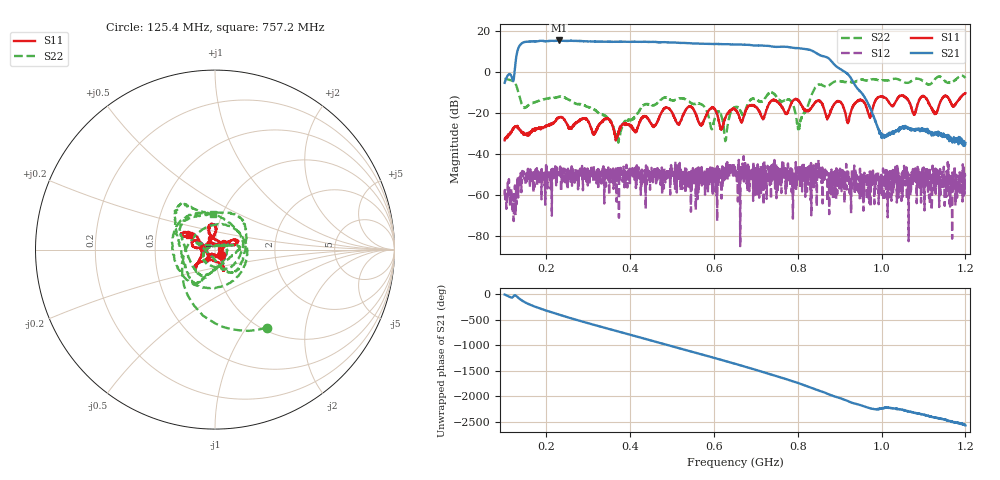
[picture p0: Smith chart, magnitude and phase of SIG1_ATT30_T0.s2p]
# Hz S DB R 50
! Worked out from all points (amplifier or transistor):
!   1601 points, 100 MHz to 1.2 GHz, reference 50 ohm
!   highest |S21| = 15.3 dB at 229.2 MHz (marker M1)
!   |S21| within 3 dB of that: 134.5 MHz to 740.4 MHz (605.9 MHz wide, 139 % of centre)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
!   unconditionally stable (mu >= 1): start of sweep to end of sweep
!   at 282.9 MHz: K = 25.50, MAG = 15.2 dB, |S12| = -49.4 dB
!   at 650 MHz: K = 21.82, MAG = 13.4 dB, |S12| = -46.4 dB
!   at 1.2 GHz: K = 4311.85, MAG = -31.2 dB, |S12| = -51.0 dB
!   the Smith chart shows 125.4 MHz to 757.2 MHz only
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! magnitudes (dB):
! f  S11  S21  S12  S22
! 100 MHz  -33.4  -5.4  -60.0  -3.5
! 122.7 MHz  -27.1  -2.2  -61.2  -4.9
! 141.2 MHz  -29.6  14.0  -54.2  -15.8
! 229.2 MHz  -22.4  15.3  -49.5  -12.2
! 283.6 MHz  -23.3  15.0  -49.5  -15.8
! 370.2 MHz  -31.3  14.6  -50.0  -34.1
! 467.1 MHz  -23.5  14.5  -49.8  -14.6
! 542.8 MHz  -17.1  13.9  -49.1  -14.9
! 568.9 MHz  -26.1  13.7  -47.0  -15.9
! 627.3 MHz  -22.2  13.5  -46.7  -33.4
! 650 MHz  -18.5  13.3  -46.4  -17.3
! 716.7 MHz  -23.2  12.8  -50.8  -14.1
! 737.3 MHz  -14.0  12.4  -51.5  -10.0
! 803.3 MHz  -14.3  11.5  -47.6  -27.9
! 833.6 MHz  -17.2  10.4  -56.1  -11.0
! 898.9 MHz  -14.4  1.7  -55.4  -4.5
! 920.9 MHz  -24.4  -1.4  -49.0  -4.8
! 944.9 MHz  -13.8  -8.8  -57.9  -4.1
! 971.8 MHz  -22.4  -17.1  -48.6  -3.9
! 1.017 GHz  -14.9  -30.2  -54.6  -4.1
! 1.129 GHz  -20.5  -30.4  -47.2  -3.3
! 1.2 GHz  -10.4  -34.7  -51.0  -3.0
